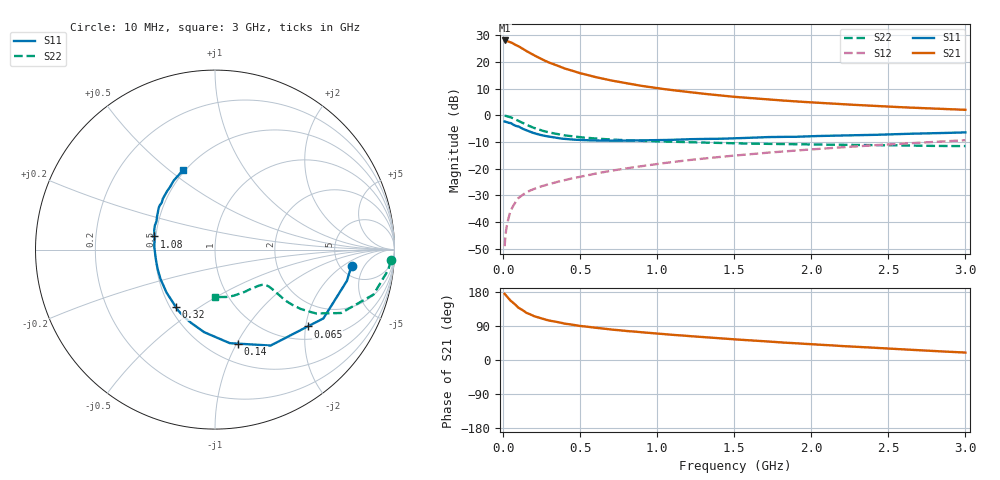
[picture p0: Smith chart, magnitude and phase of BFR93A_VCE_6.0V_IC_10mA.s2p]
! Infineon Technologies  Discrete & RF Semiconductors
! BFR93A
! VCE =  6.0 V,  IC =  10 mA
! Common Emitter S-Parameters:  Nov 2015
# GHz  S  MA  R  50
!  f  S11  S21  S12  S22
! GHz  MAG  ANG  MAG  ANG  MAG  ANG  MAG  ANG
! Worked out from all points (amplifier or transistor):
!   180 points, 10 MHz to 3 GHz, reference 50 ohm
!   highest |S21| = 28.1 dB at 10 MHz (marker M1)
!   |S21| within 3 dB of that: start of sweep to 123.5 MHz
!   unconditionally stable (mu >= 1): 588.5 MHz to 2.574 GHz
!   at 160 MHz: K = 0.50, MSG = 26.3 dB, |S12| = -28.7 dB
!   at 1.22 GHz: K = 1.09, MAG = 10.9 dB, |S12| = -16.7 dB
!   at 3 GHz: K = 0.96, MSG = 5.7 dB, |S12| = -9.4 dB
!   S11 on the Smith chart (normalised r, x): 10 MHz: 6.33, -2.74; 65 MHz: 1.32, -2.05; 140 MHz: 0.69, -1.01; 320 MHz: 0.54, -0.40; 1.08 GHz: 0.49, +0.08; 3 GHz: 0.49, +0.56
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0.01  0.7659 -6.7  25.38 174.6  0.0035 86.9  0.9818 -3.5
0.02  0.7553 -13.3  25.08 169.7  0.0071 82.9  0.9717 -6.7
0.05  0.7154 -32.4  23.53 155.9  0.0163 75.3  0.9174 -15.9
0.065  0.6707 -39.7  22.19 151.2  0.0198 70.9  0.8749 -18.8
0.1  0.6179 -59.9  19.8 137.9  0.0281 64.9  0.7861 -26.7
0.14  0.5397 -76.2  16.8 127.9  0.0342 60.4  0.6899 -31.0
0.15  0.5281 -80.9  16.15 124.8  0.0357 59.5  0.6666 -32.3
0.2  0.4643 -97.4  13.39 115.8  0.0414 57.8  0.5809 -34.7
0.24  0.4299 -107.9  11.71 110.5  0.0456 57.4  0.5311 -35.5
0.26  0.4175 -112.6  10.98 108.0  0.0475 57.4  0.5101 -35.7
0.3  0.3976 -120.9  9.732 104.0  0.0513 57.8  0.4756 -35.8
0.32  0.3875 -124.1  9.284 102.7  0.0532 58.1  0.4644 -35.7
0.4  0.3609 -138.4  7.556 95.9  0.0608 59.3  0.4194 -35.1
0.52  0.3428 -153.5  5.976 89.0  0.0725 61.0  0.3835 -34.6
0.7  0.3341 -169.4  4.513 80.5  0.0908 62.7  0.3513 -34.7
0.84  0.3361 -179.1  3.812 75.3  0.1051 63.3  0.3367 -35.6
1.02  0.3419 170.3  3.175 69.1  0.1242 63.3  0.3237 -37.6
1.08  0.345 167.7  3.015 67.1  0.1307 63.2  0.3199 -38.6
1.52  0.3721 150.2  2.199 54.0  0.1774 61.2  0.2976 -46.8
2.02  0.4072 135.1  1.733 41.2  0.2313 57.6  0.2832 -58.9
2.52  0.4403 122.8  1.449 29.8  0.2864 52.9  0.2733 -73.3
3  0.4778 111.6  1.267 19.6  0.3404 47.8  0.2644 -90.2
